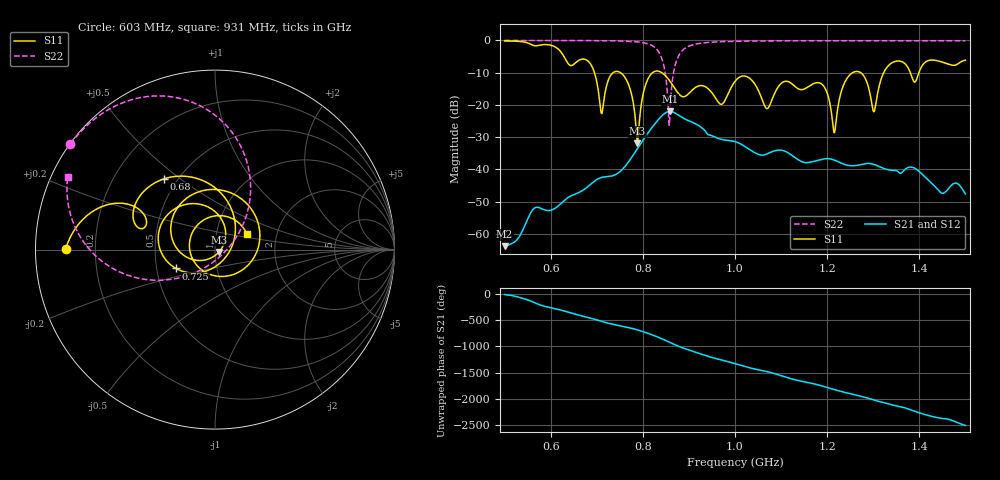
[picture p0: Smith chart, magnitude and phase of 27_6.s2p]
! TOUCHSTONE file generated by CST MICROWAVE STUDIO
! Date and time: Tue Nov 24 13:44:44 2020
! Project name: Scenario_1_Planar_Body_Tissue_Out_of_Line.cst
! Parameters = {dy1=103.8; L_HA=400; Ltissue=700; MT=2.54; Rad_Dielectric=30; Rad_Lower=7.3; Rad_Upper=30; Wtissue=700; a_HA=580; a_WG=246; b_HA=500; b_WG=121; c_HA=0; c_WG=187; d_feed=85; dx1=1039; h_feed=15; h_lower=18; h_upper=40; hfat=3; hgap=25; hmuscle=50; hskin=1.5}
! Header version: 2018
! Port assignment regex: !\s*Touchstone port\s*([0-9]+)\s*=\s*(CST MWS port|CST DS port)\s*([0-9]+|Zmin|Zmax)\s*\(\"(.*)\"\)(\s*mode\s*([0-9]+))?.*
! Touchstone port assignment:
! Touchstone port 1 = CST MWS port 1 ("")
! Touchstone port 2 = CST MWS port 2 ("")
# GHz S DB R 50
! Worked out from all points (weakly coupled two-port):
!   1003 points, 500 MHz to 1.5 GHz, reference 50 ohm
!   highest |S21| = -22.01 dB at 859 MHz (marker M1); lowest = -63.8 dB at 500 MHz (marker M2)
!   lowest |S11| = -31.9 dB at 788 MHz (marker M3), VSWR 1.05, Z = 52.2 - j1.45 ohm
!   |S11| at or under -10 dB: 751.5 MHz to 820.9 MHz (69.45 MHz wide, 8.83 % of centre); 841.2 MHz to 1.255 GHz (414 MHz wide, 39.5 % of centre); 1.273 GHz to 1.323 GHz (49.89 MHz wide, 3.84 % of centre) (the widest 3 of 5)
!   |S22| runs from -26.3 to 0.0 dB; largest |S21 - S12| = 0.00013
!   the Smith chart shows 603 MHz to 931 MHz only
!   S11 on the Smith chart (normalised r, x): 603 MHz: 0.09, +0.00; 680 MHz: 0.42, +0.44; 725 MHz: 0.63, -0.14; 931 MHz: 1.40, +0.26
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0.5  -0.16 -121.6  -63.80 -18.0  -63.80 -18.0  -0.01 151.1
0.603  -1.60 179.8  -52.53 85.7  -52.53 85.7  -0.02 143.9
0.667  -5.83 150.3  -46.72 -60.9  -46.72 -60.9  -0.04 138.4
0.68  -6.28 125.6  -45.42 -89.4  -45.42 -89.4  -0.05 137.1
0.71  -22.64 -28.8  -42.50 -166.0  -42.50 -166.0  -0.08 133.6
0.725  -12.34 -154.3  -42.21 158.0  -42.21 158.0  -0.10 131.6
0.763  -11.89 104.1  -38.78 88.5  -38.78 88.5  -0.23 124.7
0.788  -31.85 -32.9  -33.58 32.8  -33.58 32.8  -0.45 117.6
0.807  -13.33 177.2  -29.51 -20.8  -29.51 -20.8  -0.88 108.7
0.834  -9.54 84.8  -24.51 -109.8  -24.51 -109.8  -3.46 82.7
0.859  -12.67 -3.4  -22.01 150.7  -22.01 150.7  -22.12 -103.9
0.879  -16.75 -91.3  -23.32 75.6  -23.32 75.6  -4.43 -171.4
0.931  -14.10 26.5  -27.44 -79.7  -27.44 -79.7  -0.77 153.8
1  -12.71 58.6  -31.39 110.5  -31.39 110.5  -0.26 140.2
1.07  -21.13 141.5  -35.15 -39.8  -35.15 -39.8  -0.14 132.4
1.118  -12.93 -81.5  -35.09 -165.3  -35.09 -165.3  -0.11 128.1
1.167  -13.64 73.7  -37.63 97.1  -37.63 97.1  -0.10 124.2
1.216  -28.59 -158.5  -37.13 -22.5  -37.13 -22.5  -0.09 120.4
1.248  -10.86 52.8  -38.80 -92.9  -38.80 -92.9  -0.08 118.0
1.302  -22.05 18.7  -38.46 140.7  -38.46 140.7  -0.08 113.9
1.334  -7.67 24.3  -40.14 66.7  -40.14 66.7  -0.09 111.5
1.5  -6.13 -43.3  -47.60 18.9  -47.60 18.9  -0.13 97.9
